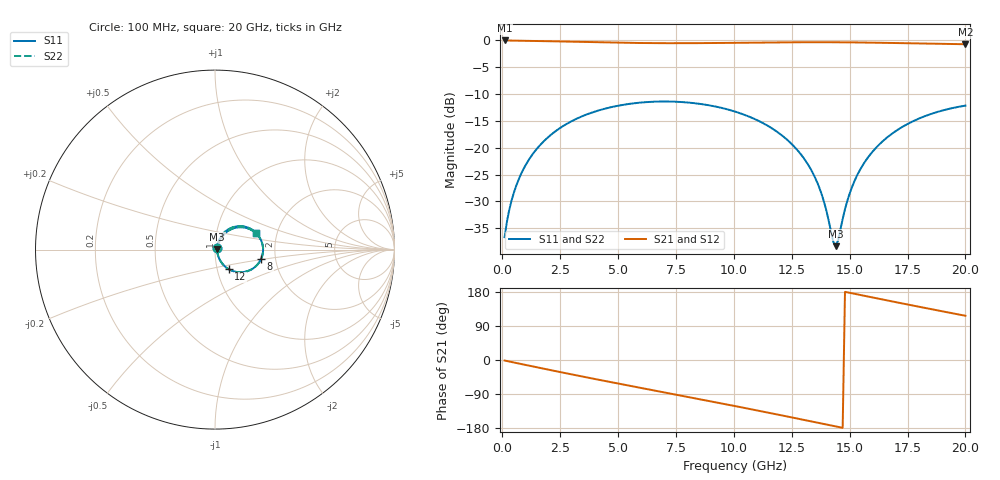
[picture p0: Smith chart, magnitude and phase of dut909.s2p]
! Touchstone file exported from HFSS 2026.1.0
!  File:  C:/ffzhzh/LocalFiles/Ansys_Project_Files/temp_train_TSV_RDL_909_1783277654_30076.aedt
!  Generated:  03:04:43 AM Jul  6, 2026
!  Design:  TSV_RDL
!  Project:  temp_train_TSV_RDL_909_1783277654_30076
! Variables:
!  h_bsmrdl = 3.95um
!  h_ox = 20um
!  h_rdl = 5um
!  h_sub = 68.07um
!  h_tmrdl = 5.38um
!  h_tsv = 68.07um
!  h_via = 3um
!  l_bsmrdl = 731.96um
!  l_sub = 4223.42um
!  l_tmrdl = 365.29um
!  m_sub = 200um
!  pitch = 41.35um
!  r_tsv = 11.06um
!  s_tmrdl = 10um
!  w_bsmrdl = 28.59um
!  w_sub = 500um
!  w_tmrdl = 26.87um
!  x_tsv_center1 = 378.725um
!  x_tsv_center2 = 1139.275um
!  x_tsv_center3 = 1531.435um
!  x_tsv_center4 = 2291.985um
!  x_tsv_center5 = 2684.145um
!  x_tsv_center6 = 3444.695um
# GHz S MA R 50.000000
! Terminal data exported
! Port[1] = TM_RDL1_1_T1
! Port[2] = TM_RDL5_1_T1
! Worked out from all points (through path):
!   200 points, 100 MHz to 20 GHz, reference 50 ohm
!   highest |S21| = -0.11 dB at 100 MHz (marker M1); lowest = -0.8 dB at 20 GHz (marker M2)
!   group delay of S21, straight-line fit = 33.6 ps
!   lowest |S11| = -38.3 dB at 14.4 GHz (marker M3), VSWR 1.02, Z = 51.2 + j0.0792 ohm
!   |S11| at or under -10 dB: start of sweep to end of sweep
!   |S22| runs from -38.3 to -11.4 dB; largest |S21 - S12| = 1.1e-13
!   S11 on the Smith chart (normalised r, x): 100 MHz: 1.02, +0.02; 8 GHz: 1.68, -0.18; 12 GHz: 1.14, -0.25; 20 GHz: 1.55, +0.31
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0.1  0.01473 33.2  0.9878 -1.4  0.9878 -1.4  0.01473 33.2
! Gamma 0 0 0 0
! Port Impedance 50 0 50 0
0.3  0.0264 53.0  0.9854 -4.0  0.9854 -4.0  0.0264 53.0
0.5  0.03817 59.4  0.9838 -6.6  0.9838 -6.6  0.03817 59.4
1.2  0.08028 61.7  0.979 -15.5  0.979 -15.5  0.08028 61.7
2.2  0.1368 53.3  0.9699 -28.1  0.9699 -28.1  0.1368 53.3
3.5  0.1974 39.2  0.9559 -44.1  0.9559 -44.1  0.1974 39.2
5.1  0.2471 21.2  0.9409 -63.3  0.9409 -63.3  0.2471 21.2
6.8  0.2677 2.2  0.9324 -83.2  0.9324 -83.2  0.2677 2.2
8  0.2624 -11.1  0.9319 -97.2  0.9319 -97.2  0.2623 -11.1
10.1  0.2144 -34.4  0.9394 -122.1  0.9394 -122.1  0.2144 -34.5
12  0.1337 -54.8  0.9486 -145.3  0.9486 -145.3  0.1337 -54.9
12.8  0.09183 -62.0  0.951 -155.2  0.951 -155.2  0.0918 -62.1
13.4  0.05868 -64.9  0.9518 -162.7  0.9518 -162.7  0.05865 -65.0
13.8  0.03648 -62.3  0.9517 -167.7  0.9517 -167.7  0.03643 -62.3
14.3  0.01325 -21.3  0.9509 -174.0  0.9509 -174.0  0.0132 -21.2
14.4  0.01217 3.6  0.9506 -175.2  0.9506 -175.2  0.01213 3.8
14.9  0.03202 62.7  0.9489 178.5  0.9489 178.5  0.03205 62.7
15.3  0.05394 67.1  0.947 173.6  0.947 173.6  0.05398 67.1
15.9  0.08681 64.9  0.9433 166.1  0.9433 166.1  0.08686 64.9
16.7  0.1283 58.0  0.9373 156.2  0.9373 156.2  0.1283 58.0
18.2  0.194 42.3  0.9244 138.1  0.9244 138.1  0.194 42.3
20  0.2453 22.7  0.9113 116.7  0.9113 116.7  0.2454 22.6
